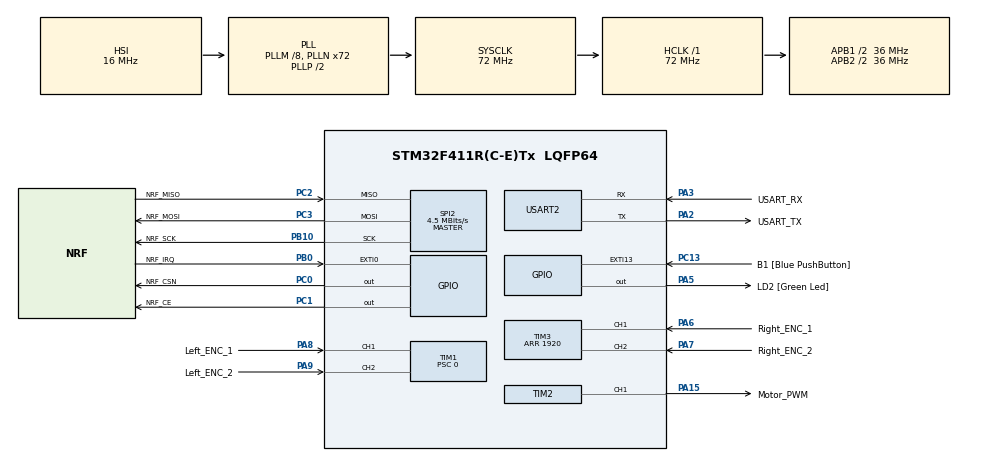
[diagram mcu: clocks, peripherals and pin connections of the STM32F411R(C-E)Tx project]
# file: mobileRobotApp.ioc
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Dma.Request0=TIM2_CH1
Dma.TIM2_CH1.0.Direction=DMA_MEMORY_TO_PERIPH
Dma.TIM2_CH1.0.FIFOMode=DMA_FIFOMODE_DISABLE
Dma.TIM2_CH1.0.Instance=DMA1_Stream5
Dma.TIM2_CH1.0.MemDataAlignment=DMA_MDATAALIGN_WORD
Dma.TIM2_CH1.0.MemInc=DMA_MINC_ENABLE
Dma.TIM2_CH1.0.Mode=DMA_CIRCULAR
Dma.TIM2_CH1.0.PeriphDataAlignment=DMA_PDATAALIGN_WORD
Dma.TIM2_CH1.0.PeriphInc=DMA_PINC_DISABLE
Dma.TIM2_CH1.0.Priority=DMA_PRIORITY_LOW
Mcu.Family=STM32F4
Mcu.Name=STM32F411R(C-E)Tx
Mcu.Package=LQFP64
NVIC.DMA1_Stream5_IRQn=true\:0\:0\:false\:false\:true\:false\:true\:true
NVIC.EXTI0_IRQn=true\:0\:0\:false\:false\:true\:true\:true\:true
NVIC.PriorityGroup=NVIC_PRIORITYGROUP_0
PA13.GPIO_Label=TMS
PA13.Mode=Serial_Wire
PA13.Signal=SYS_JTMS-SWDIO
PA14.GPIO_Label=TCK
PA14.Mode=Serial_Wire
PA14.Signal=SYS_JTCK-SWCLK
PA15.GPIO_Label=Motor_PWM
PA15.Signal=S_TIM2_CH1_ETR
PA2.GPIO_Label=USART_TX
PA2.Mode=Asynchronous
PA2.Signal=USART2_TX
PA3.GPIO_Label=USART_RX
PA3.Mode=Asynchronous
PA3.Signal=USART2_RX
PA5.GPIO_Label=LD2 [Green Led]
PA5.Signal=GPIO_Output
PA6.GPIO_Label=Right_ENC_1
PA6.Signal=S_TIM3_CH1
PA7.GPIO_Label=Right_ENC_2
PA7.Signal=S_TIM3_CH2
PA8.GPIO_Label=Left_ENC_1
PA8.Signal=S_TIM1_CH1
PA9.GPIO_Label=Left_ENC_2
PA9.Signal=S_TIM1_CH2
PB0.GPIO_Label=NRF_IRQ
PB0.Signal=GPXTI0
PB10.GPIO_Label=NRF_SCK
PB10.Mode=Full_Duplex_Master
PB10.Signal=SPI2_SCK
PB3.GPIO_Label=SWO
PB3.Signal=SYS_JTDO-SWO
PC0.GPIO_Label=NRF_CSN
PC0.Signal=GPIO_Output
PC1.GPIO_Label=NRF_CE
PC1.Signal=GPIO_Output
PC13-ANTI_TAMP.GPIO_Label=B1 [Blue PushButton]
PC13-ANTI_TAMP.GPIO_ModeDefaultEXTI=GPIO_MODE_IT_FALLING
PC13-ANTI_TAMP.Signal=GPXTI13
PC14-OSC32_IN.Mode=LSE-External-Oscillator
PC14-OSC32_IN.Signal=RCC_OSC32_IN
PC15-OSC32_OUT.Mode=LSE-External-Oscillator
PC15-OSC32_OUT.Signal=RCC_OSC32_OUT
PC2.GPIO_Label=NRF_MISO
PC2.Mode=Full_Duplex_Master
PC2.Signal=SPI2_MISO
PC3.GPIO_Label=NRF_MOSI
PC3.Mode=Full_Duplex_Master
PC3.Signal=SPI2_MOSI
PH0\ -\ OSC_IN.Mode=HSE-External-Clock-Source
PH0\ -\ OSC_IN.Signal=RCC_OSC_IN
PH1\ -\ OSC_OUT.Mode=HSE-External-Clock-Source
PH1\ -\ OSC_OUT.Signal=RCC_OSC_OUT
ProjectManager.HeapSize=0x200
ProjectManager.StackSize=0x400
ProjectManager.TargetToolchain=STM32CubeIDE
RCC.48MHZClocksFreq_Value=36000000
RCC.AHBFreq_Value=72000000
RCC.APB1CLKDivider=RCC_HCLK_DIV2
RCC.APB1Freq_Value=36000000
RCC.APB1TimFreq_Value=72000000
RCC.APB2CLKDivider=RCC_HCLK_DIV2
RCC.APB2Freq_Value=36000000
RCC.APB2TimFreq_Value=72000000
RCC.CortexFreq_Value=72000000
RCC.FLatency-AdvancedSettings=FLASH_LATENCY_2
RCC.HCLKFreq_Value=72000000
RCC.HSE_VALUE=8000000
RCC.HSI_VALUE=16000000
RCC.PLLM=8
RCC.PLLN=72
RCC.SYSCLKFreq_VALUE=72000000
RCC.SYSCLKSource=RCC_SYSCLKSOURCE_PLLCLK
RCC.VCOOutputFreq_Value=144000000
SH.S_TIM1_CH1.0=TIM1_CH1,Encoder_Interface
SH.S_TIM1_CH2.0=TIM1_CH2,Encoder_Interface
SH.S_TIM2_CH1_ETR.0=TIM2_CH1,PWM Generation1 CH1
SH.S_TIM3_CH1.0=TIM3_CH1,Encoder_Interface
SH.S_TIM3_CH2.0=TIM3_CH2,Encoder_Interface
SPI2.BaudRatePrescaler=SPI_BAUDRATEPRESCALER_8
SPI2.CalculateBaudRate=4.5 MBits/s
SPI2.Direction=SPI_DIRECTION_2LINES
SPI2.Mode=SPI_MODE_MASTER
SPI2.VirtualType=VM_MASTER
TIM1.Period=1920
TIM1.Prescaler=0
TIM2.Channel-PWM\ Generation1\ CH1=TIM_CHANNEL_1
TIM2.Period=100-1
TIM2.Prescaler=5000-1
TIM3.Period=1920
USART2.VirtualMode=VM_ASYNC
VP_TIM2_VS_ClockSourceINT.Mode=Internal
board=NUCLEO-F411RE

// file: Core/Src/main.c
/* USER CODE BEGIN Header */
/**
  ******************************************************************************
  * @file           : main.c
  * @brief          : Main program body
  ******************************************************************************
  * @attention
  *
  * Copyright (c) 2022 STMicroelectronics.
  * All rights reserved.
  *
  * This software is licensed under terms that can be found in the LICENSE file
  * in the root directory of this software component.
  * If no LICENSE file comes with this software, it is provided AS-IS.
  *
  ******************************************************************************
  */
/* USER CODE END Header */
#include "main.h"
#include "dma.h"
#include "spi.h"
#include "tim.h"
#include "usart.h"
#include "gpio.h"

/* USER CODE BEGIN Includes */
#include "stdio.h"
//#include "nRF24.h"
#include "radio_controller.h"
/* USER CODE END Includes */

/* USER CODE BEGIN PV */
static uint32_t dutyCycle_pwm;
volatile uint16_t pulseCount_right_encoder;
volatile uint16_t pulseCount_left_encoder;

volatile uint8_t nrf24_rx_flag;
volatile uint8_t nrf24_tx_flag;
volatile uint8_t nrf24_mr_flag;
volatile uint8_t nrf24_interrupt_flag;
//uint8_t Message[32];
//uint8_t MessageLength;
/* USER CODE END PV */

void SystemClock_Config(void);
/* USER CODE BEGIN PFP */
void runRadio(void);
/* USER CODE END PFP */

int main(void)
{

  /* MCU Configuration--------------------------------------------------------*/

  /* Reset of all peripherals, Initializes the Flash interface and the Systick. */
  HAL_Init();

  /* Configure the system clock */
  SystemClock_Config();

  /* Initialize all configured peripherals */
  MX_GPIO_Init();
  MX_USART2_UART_Init();
  MX_DMA_Init();
  MX_TIM2_Init();
  MX_TIM1_Init();
  MX_TIM3_Init();
  MX_SPI2_Init();
  /* USER CODE BEGIN 2 */
  HAL_TIM_PWM_Start(&htim2, TIM_CHANNEL_1);
  HAL_TIM_PWM_Start_DMA(&htim2, TIM_CHANNEL_1, &dutyCycle_pwm, 1);
  HAL_TIM_Encoder_Start(&htim1, TIM_CHANNEL_ALL);
  HAL_TIM_Encoder_Start(&htim3, TIM_CHANNEL_ALL);
  radio_Init();
  /* USER CODE END 2 */

  /* Infinite loop */
  /* USER CODE BEGIN WHILE */
//  runRadio();
  while (1)
  {
	  nRF24_Event();

//	  static uint8_t InterruptPrescaler = 0; // licznik przerwan
//	  	static uint8_t CzyRosnie = 1; // Flaga kierunku zliczania
//
//	  	++InterruptPrescaler; // Inkrementacja numeru przerwania
//
//	  	// Jezeli wywolalo sie 40 przerwanie z rzedu
//	  	if (InterruptPrescaler == 40) {
//	  		InterruptPrescaler = 0; // wyzeruj licznik przerwan
//
//	  		if (dutyCycle_pwm == 100) // Jezeli wypelnienie jest rowne 100
//	  			CzyRosnie = 0; // Zmien kierunek zliczania w dol
//
//	  		else if (dutyCycle_pwm == 0) // Jezeli wypelnienie rowne 0
//	  			CzyRosnie = 1; // Zmien kierunek zliczania w gore
//
//	  		if (CzyRosnie) // Jezeli zliczamy w gore
//	  			++dutyCycle_pwm; // Inkrementuj wartosc wypelnienia
//	  		else//Jezeli zliczamy w dol
//	  			--dutyCycle_pwm; // Dekrementuj wartosc wypelnienia
//	  	}
//	  	HAL_Delay(2);
//	  pulseCount_left_encoder = TIM1->CNT;
//	  pulseCount_right_encoder = TIM3->CNT;
    /* USER CODE END WHILE */

  }
}

void SystemClock_Config(void)
{
  RCC_OscInitTypeDef RCC_OscInitStruct = {0};
  RCC_ClkInitTypeDef RCC_ClkInitStruct = {0};

  /** Configure the main internal regulator output voltage
  */
  __HAL_RCC_PWR_CLK_ENABLE();
  __HAL_PWR_VOLTAGESCALING_CONFIG(PWR_REGULATOR_VOLTAGE_SCALE1);

  /** Initializes the RCC Oscillators according to the specified parameters
  * in the RCC_OscInitTypeDef structure.
  */
  RCC_OscInitStruct.OscillatorType = RCC_OSCILLATORTYPE_HSI;
  RCC_OscInitStruct.HSIState = RCC_HSI_ON;
  RCC_OscInitStruct.HSICalibrationValue = RCC_HSICALIBRATION_DEFAULT;
  RCC_OscInitStruct.PLL.PLLState = RCC_PLL_ON;
  RCC_OscInitStruct.PLL.PLLSource = RCC_PLLSOURCE_HSI;
  RCC_OscInitStruct.PLL.PLLM = 8;
  RCC_OscInitStruct.PLL.PLLN = 72;
  RCC_OscInitStruct.PLL.PLLP = RCC_PLLP_DIV2;
  RCC_OscInitStruct.PLL.PLLQ = 4;
  if (HAL_RCC_OscConfig(&RCC_OscInitStruct) != HAL_OK)
  {
    Error_Handler();
  }

  /** Initializes the CPU, AHB and APB buses clocks
  */
  RCC_ClkInitStruct.ClockType = RCC_CLOCKTYPE_HCLK|RCC_CLOCKTYPE_SYSCLK
                              |RCC_CLOCKTYPE_PCLK1|RCC_CLOCKTYPE_PCLK2;
  RCC_ClkInitStruct.SYSCLKSource = RCC_SYSCLKSOURCE_PLLCLK;
  RCC_ClkInitStruct.AHBCLKDivider = RCC_SYSCLK_DIV1;
  RCC_ClkInitStruct.APB1CLKDivider = RCC_HCLK_DIV2;
  RCC_ClkInitStruct.APB2CLKDivider = RCC_HCLK_DIV2;

  if (HAL_RCC_ClockConfig(&RCC_ClkInitStruct, FLASH_LATENCY_2) != HAL_OK)
  {
    Error_Handler();
  }
}

/* USER CODE BEGIN 4 */
void HAL_GPIO_EXTI_Callback(uint16_t GPIO_Pin)
{
	if (GPIO_Pin == NRF_IRQ_Pin)
	{
		nRF24_IRQ_Handler();
//		nrf24_interrupt_flag = 0;
	}
}

void nRF24_EventRxCallback(void)
{
	radio_Process_Rx();
}
/* USER CODE END 4 */

void Error_Handler(void)
{
  __disable_irq();
  while (1)
  {
  }
}
